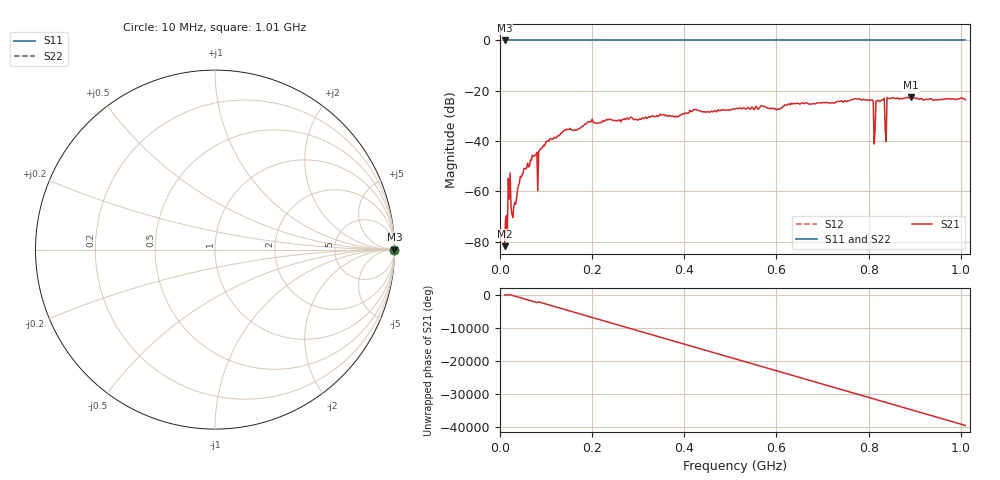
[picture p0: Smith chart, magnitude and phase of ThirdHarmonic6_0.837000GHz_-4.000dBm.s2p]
! 8/16/2025 3:45:13 AM
! C:\ANRITSUVNA\TEMP\TEMP.S2P
! CHANNEL.1
! TR.MEASUREMENT
! RAW.DATA
! RF.CORRECTION.OFF
! AVERAGING.OFF
! IF.BANDWIDTH: 5KHZ
! SWEEPTYPE:  FREQ.SWEEP(Linear)
! Reference Plane Port Info
! PORT:  PORT1  PORT2
! DISTANCE:  0  m  0  m
! TIME:  0  s  0  s
! PHASE.OFFSET:  0  deg.  0  deg.
! LOSS:  0  dB  0  dB
! REF.LOSS:  0  dB  0  dB
! REF.FREQ:  0  Hz  0  Hz
! Power Info
! POWER:  -20  dBm  -20  dBm
! EFF.POWER:  -20  dBm  -20  dBm
! SOURCE.ATTEN:  0  dB  0  dB
! TEST.ATTEN:  0  dB  0  dB
# GHZ S RI R 50.0
! FREQ.GHZ  S11RE  S11IM  S21RE  S21IM  S12RE  S12IM  S22RE  S22IM
!; PortSelection: Port_12
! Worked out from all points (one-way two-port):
!   501 points, 10 MHz to 1.01 GHz, reference 50 ohm
!   highest |S21| = -22.54 dB at 892 MHz (marker M1); lowest = -81.8 dB at 10 MHz (marker M2)
!   lowest |S11| = 0.0 dB at 10 MHz (marker M3)
!   |S11| at or under -10 dB: nowhere
!   |S22| runs from 0.0 to 0.0 dB; largest |S21 - S12| = 1.1
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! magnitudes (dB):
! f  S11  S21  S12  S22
! 10 MHz  0.0  -81.8  0.0  0.0
! 12 MHz  0.0  -71.1  0.0  0.0
! 18 MHz  0.0  -54.8  0.0  0.0
! 22 MHz  0.0  -52.7  0.0  0.0
! 30 MHz  0.0  -66.1  0.0  0.0
! 48 MHz  0.0  -53.3  0.0  0.0
! 70 MHz  0.0  -45.7  0.0  0.0
! 80 MHz  0.0  -44.5  0.0  0.0
! 106 MHz  0.0  -40.0  0.0  0.0
! 178 MHz  0.0  -34.2  0.0  0.0
! 344 MHz  0.0  -30.2  0.0  0.0
! 510 MHz  0.0  -27.2  0.0  0.0
! 678 MHz  0.0  -25.2  0.0  0.0
! 804 MHz  0.0  -23.8  0.0  0.0
! 814 MHz  0.0  -35.5  0.0  0.0
! 820 MHz  0.0  -23.8  0.0  0.0
! 830 MHz  0.0  -23.6  0.0  0.0
! 834 MHz  0.0  -23.1  0.0  0.0
! 840 MHz  0.0  -22.7  0.0  0.0
! 844 MHz  0.0  -23.1  0.0  0.0
! 892 MHz  0.0  -22.5  0.0  0.0
! 1.01 GHz  0.0  -23.6  0.0  0.0
